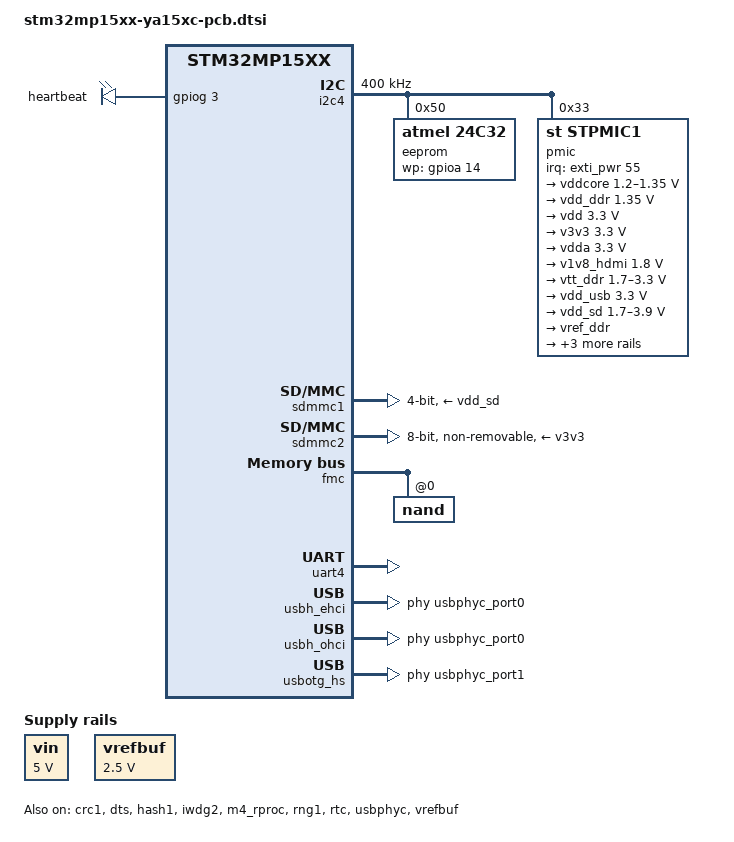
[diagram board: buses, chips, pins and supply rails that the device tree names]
// SPDX-License-Identifier: (GPL-2.0+ OR BSD-3-Clause)
/*
 * Copyright (C) STMicroelectronics 2019 - All Rights Reserved
 * Author: Alexandre Torgue <alexandre.torgue@st.com> for STMicroelectronics.
 * Author: licy licy.li@myirtech.com
 */

/*
#include "stm32mp157-m4-srm.dtsi"
#include "stm32mp157-m4-srm-pinctrl.dtsi"
*/
#include <dt-bindings/mfd/st,stpmic1.h>
#include <dt-bindings/input/input.h>


/ {

	reserved-memory {
		#address-cells = <1>;
		#size-cells = <1>;
		ranges;

		mcuram2: mcuram2@10000000 {
			compatible = "shared-dma-pool";
			reg = <0x10000000 0x40000>;
			no-map;
		};

		vdev0vring0: vdev0vring0@10040000 {
			compatible = "shared-dma-pool";
			reg = <0x10040000 0x1000>;
			no-map;
		};

		vdev0vring1: vdev0vring1@10041000 {
			compatible = "shared-dma-pool";
			reg = <0x10041000 0x1000>;
			no-map;
		};

		vdev0buffer: vdev0buffer@10042000 {
			compatible = "shared-dma-pool";
			reg = <0x10042000 0x4000>;
			no-map;
		};

		mcuram: mcuram@30000000 {
			compatible = "shared-dma-pool";
			reg = <0x30000000 0x40000>;
			no-map;
		};

		retram: retram@38000000 {
			compatible = "shared-dma-pool";
			reg = <0x38000000 0x10000>;
			no-map;
		};
	};

	/*Run LED*/
	led {
        	compatible = "gpio-leds";
        	blue {
                        label = "heartbeat";
                        gpios = <&gpiog 3 GPIO_ACTIVE_HIGH>;
                        linux,default-trigger = "heartbeat";
                        default-state = "off";
                };


	};


	usb_phy_tuning: usb-phy-tuning {
		st,hs-dc-level = <2>;
		st,fs-rftime-tuning;
		st,hs-rftime-reduction;
		st,hs-current-trim = <15>;
		st,hs-impedance-trim = <1>;
		st,squelch-level = <3>;
		st,hs-rx-offset = <2>;
		st,no-lsfs-sc;
	};

	vin: vin {
                compatible = "regulator-fixed";
                regulator-name = "vin";
                regulator-min-microvolt = <5000000>;
                regulator-max-microvolt = <5000000>;
                regulator-always-on;
        };


};

/* adc 
 *myir pin header
 *ANA0 (ADC1_INP0 or ADC2_INP0)
 *ANA1 (ADC1_INP1 or ADC2_INP1)
 *PC0(ADC1_INP10 or ADC2_INP10) 
 *PC3(ADC1_INP13 or ADC2_INN12) 
 *PF12(ADC1_INP6 or ADC1_INN2)
 */
/*
&adc{
	pinctrl-names = "default", "sleep";
	pinctrl-0 = <&adc_pins_mx>;
	pinctrl-1 = <&adc_sleep_pins_mx>;
	vdd-supply = <&vdd>;
        vdda-supply = <&vdda>;
        vref-supply = <&vrefbuf>;
	status = "okay";

	adc1: adc@0 {
                st,min-sample-time-nsecs = <10000>;
                st,adc-channels = <0>;
                status = "okay";
        };

        adc2: adc@100 {
		st,min-sample-time-nsecs = <5000>;
                st,adc-channels = <1>;
                status = "okay";
        };
	

        adc_temp: temp {
                status = "okay";
        };
};
*/

&crc1 {
	status = "okay";
};

&dma1 {
	sram = <&dma_pool>;
};

&dma2 {
	sram = <&dma_pool>;
};

&dts {
	status = "okay";
};


&hash1 {
	status = "okay";
};


#if 1
&i2c4 {
	pinctrl-names = "default", "sleep";
	pinctrl-0 = <&i2c4_pins_a>;
	pinctrl-1 = <&i2c4_pins_sleep_a>;
	i2c-scl-rising-time-ns = <185>;
	i2c-scl-falling-time-ns = <20>;
	clock-frequency = <400000>;
	status = "okay";
	/delete-property/dmas;
	/delete-property/dma-names;
	
	/*eeprom*/
	eeprom@50 {
          	compatible = "atmel,24c32";
          	reg = <0x50>;
          	pagesize = <32>;
          	wp-gpios = <&gpioa 14 0>;
          	num-addresses = <8>;
      };

	pmic: stpmic@33 {
		compatible = "st,stpmic1";
		reg = <0x33>;
		interrupts-extended = <&exti_pwr 55 IRQ_TYPE_EDGE_FALLING>;
		interrupt-controller;
		#interrupt-cells = <2>;
		status = "okay";

		regulators {
			compatible = "st,stpmic1-regulators";
			/*			
			buck1-supply = <&vin>;
			buck2-supply = <&vin>;
			buck3-supply = <&vin>;
			buck4-supply = <&vin>;
			ldo1-supply = <&v3v3>;
			ldo2-supply = <&vin>;
			ldo3-supply = <&vdd_ddr>;
			ldo4-supply = <&vin>;
			ldo5-supply = <&vin>;
			ldo6-supply = <&v3v3>;
			vref_ddr-supply = <&vin>;
			boost-supply = <&vin>;
			pwr_sw1-supply = <&bst_out>;
			pwr_sw2-supply = <&bst_out>;
			*/

			vddcore: buck1 {
				regulator-name = "vddcore";
				regulator-min-microvolt = <1200000>;
				regulator-max-microvolt = <1350000>;
				regulator-always-on;
				regulator-initial-mode = <0>;
				regulator-over-current-protection;
			};

			vdd_ddr: buck2 {
				regulator-name = "vdd_ddr";
				regulator-min-microvolt = <1350000>;
				regulator-max-microvolt = <1350000>;
				regulator-always-on;
				regulator-initial-mode = <0>;
				regulator-over-current-protection;
			};

			vdd: buck3 {
				regulator-name = "vdd";
				regulator-min-microvolt = <3300000>;
				regulator-max-microvolt = <3300000>;
				regulator-always-on;
				st,mask-reset;
				regulator-initial-mode = <0>;
				regulator-over-current-protection;
			};

			v3v3: buck4 {
				regulator-name = "v3v3";
				regulator-min-microvolt = <3300000>;
				regulator-max-microvolt = <3300000>;
				regulator-always-on;
				regulator-over-current-protection;
				regulator-initial-mode = <0>;
			};
			
			/*no use*/
			vdda: ldo1 {
				regulator-name = "vdda";
				regulator-min-microvolt = <3300000>;
				regulator-max-microvolt = <3300000>;
				regulator-always-on;
				interrupts = <IT_CURLIM_LDO1 0>;

			};

			v1v8_hdmi: ldo2 {
				regulator-name = "v1v8_hdmi";
				regulator-min-microvolt = <1800000>;
				regulator-max-microvolt = <1800000>;
				regulator-always-on;
				interrupts = <IT_CURLIM_LDO2 0>;

			};

			vtt_ddr: ldo3 {
				regulator-name = "vtt_ddr";
				regulator-min-microvolt = <1700000>;
				regulator-max-microvolt = <3300000>;
				regulator-always-on;
				regulator-over-current-protection;
			};

			vdd_usb: ldo4 {
				regulator-name = "vdd_usb";
				regulator-min-microvolt = <3300000>;
				regulator-max-microvolt = <3300000>;
				interrupts = <IT_CURLIM_LDO4 0>;
				regulator-always-on;
			};

			vdd_sd: ldo5 {
				regulator-name = "vdd_sd";
				regulator-min-microvolt = <1700000>;
				regulator-max-microvolt = <3900000>;
				interrupts = <IT_CURLIM_LDO5 0>;
				regulator-boot-on;
			};

			vref_ddr: vref_ddr {
				regulator-name = "vref_ddr";
				regulator-always-on;
				regulator-over-current-protection;
			};

			 bst_out: boost {
				regulator-name = "bst_out";
				interrupts = <IT_OCP_BOOST 0>;
			 };

			vbus_otg: pwr_sw1 {
				regulator-name = "vbus_otg";
				interrupts = <IT_OCP_OTG 0>;
			 };

			 vbus_sw: pwr_sw2 {
				regulator-name = "vbus_sw";
				interrupts = <IT_OCP_SWOUT 0>;
				regulator-active-discharge = <1>;
			 };
		};

		onkey {
			compatible = "st,stpmic1-onkey";
			interrupts = <IT_PONKEY_F 0>, <IT_PONKEY_R 0>;
			interrupt-names = "onkey-falling", "onkey-rising";
			power-off-time-sec = <10>;
			status = "okay";
		};

		watchdog {
			compatible = "st,stpmic1-wdt";
			status = "okay";
		};
    };
};
#endif


&ipcc {
	status = "okay";
};

/*watch dog*/
&iwdg2 {
	timeout-sec = <32>;
	status = "okay";
};

&m4_rproc {
	memory-region = <&retram>, <&mcuram>, <&mcuram2>, <&vdev0vring0>,
			<&vdev0vring1>, <&vdev0buffer>;
	mboxes = <&ipcc 0>, <&ipcc 1>, <&ipcc 2>;
	mbox-names = "vq0", "vq1", "shutdown";
	interrupt-parent = <&exti>;
	interrupts = <68 1>;
	wakeup-source;
	status = "okay";
};

/*
&pwr_regulators {
	vdd-supply = <&vdd>;
	vdd_3v3_usbfs-supply = <&vdd_usb>;
};
*/

&rng1 {
	status = "okay";
};

/*rtc0*/
&rtc {
	status = "okay";
};

/* Wifi */
/*
&sdmmc3 {
     arm,primecell-periphid = <0x10153180>;
     //pinctrl-names = "default", "opendrain", "sleep";
     //pinctrl-0 = <&sdmmc3_b4_pins_a>;
     //pinctrl-1 = <&sdmmc3_b4_od_pins_a>;
     //pinctrl-2 = <&sdmmc3_b4_sleep_pins_a>;
     non-removable;
     st,neg-edge;
     bus-width = <4>;
     vmmc-supply = <&v3v3>;
     #address-cells = <1>;
     #size-cells = <0>;
     keep-power-in-suspend;
     status = "okay";
 
};
*/

/*SD card*/
&sdmmc1 {
     pinctrl-names = "default", "opendrain", "sleep";
     pinctrl-0 = <&sdmmc1_b4_pins_a>;
     pinctrl-1 = <&sdmmc1_b4_od_pins_a>;
     pinctrl-2 = <&sdmmc1_b4_sleep_pins_a>;
     broken-cd;
     st,neg-edge;
     bus-width = <4>;
     vmmc-supply = <&vdd_sd>;
     status = "okay";
};

/*emmc*/
&sdmmc2 {
	pinctrl-names = "default", "opendrain", "sleep";
	pinctrl-0 = <&sdmmc2_b4_pins_a &sdmmc2_d47_pins_a>;
	pinctrl-1 = <&sdmmc2_b4_od_pins_a &sdmmc2_d47_pins_a>;
	pinctrl-2 = <&sdmmc2_b4_sleep_pins_a &sdmmc2_d47_sleep_pins_a>;
	non-removable;
	no-sd;
	no-sdio;
	st,neg-edge;
	bus-width = <8>;
	vmmc-supply = <&v3v3>;
	vqmmc-supply = <&vdd>;
	mmc-ddr-3_3v;
	status = "okay";
};

/*nand*/
&fmc {
    pinctrl-names = "default", "sleep";
    pinctrl-0 = <&fmc_pins_a>;
    pinctrl-1 = <&fmc_sleep_pins_a>;
    status = "okay";
    #address-cells = <1>;
    #size-cells = <0>;
                             
    nand: nand@0 {
          reg = <0>;
          nand-on-flash-bbt;
          #address-cells = <1>;
          #size-cells = <1>;
          nand-ecc-strength = <4>;
          nand-ecc-step-size = <512>;
    };                                                                                                                                                                                                 
};

/*debug*/
&uart4 {
        pinctrl-names = "default", "sleep";
        pinctrl-0 = <&uart4_pins_mx>;
        pinctrl-1 = <&uart4_sleep_pins_mx>;
        status = "okay";
};



/*to mx8*/
/*
&usart3{
        pinctrl-names = "default", "sleep";
        pinctrl-0 = <&usart3_pins_mx>;
        pinctrl-1 = <&usart3_sleep_pins_mx>;
        status = "okay";
};
*/


&sram {
	dma_pool: dma_pool@0 {
		reg = <0x50000 0x10000>;
		pool;
	};
};


/*usb host ehci*/
&usbh_ehci {
	phys = <&usbphyc_port0>, <&usbphyc_port1 1>;
	phy-names = "usb";
	status = "okay";
};

/*usb host ohci*/

&usbh_ohci {
   phys = <&usbphyc_port0>, <&usbphyc_port1 1>; 
   phy-names = "usb";
   status = "okay";
};


&usbotg_hs {
        phys = <&usbphyc_port1 1>;
        phy-names = "usb2-phy";
        //usb-role-switch;
        status = "okay";

};


&usbphyc {
	status = "okay";
	
};

&usbphyc_port0 {
	phy-supply = <&vdd_usb>;
	st,phy-tuning = <&usb_phy_tuning>;
};

&usbphyc_port1 {
	phy-supply = <&vdd_usb>;
	st,phy-tuning = <&usb_phy_tuning>;
};

&vrefbuf {
	regulator-min-microvolt = <2500000>;
	regulator-max-microvolt = <2500000>;
	vdda-supply = <&vdda>;
	status = "okay";
};
